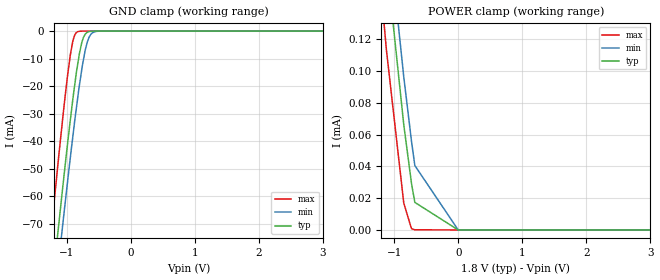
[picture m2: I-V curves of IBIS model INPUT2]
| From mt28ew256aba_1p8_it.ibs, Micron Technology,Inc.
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|   Model INPUT
[Model]   INPUT2
Model_type   Input
Vinl = 0.800V
Vinh = 1.260V
|   typ   min   max
C_comp   3.319pF   2.816pF   3.816pF
[Voltage Range]   1.800V   1.650V   1.950V
| Junction Temperature (Ambient temp is 35C typ, 85C min, -40C max)
[Temperature Range]   50.0   100.0   -40.0
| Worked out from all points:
|   GND clamp passes 1 mA (typ) near -0.71 V on its own axis
[GND Clamp]
|   Voltage   I(typ)   I(min)   I(max)
-1.8V     -225.7mA   -234.8mA   -209.1mA
-1.271V   -103.2mA   -115.7mA   -79.88mA
-1.228V   -93.37mA   -106.2mA   -69.55mA
-1.136V   -72.95mA   -86.25mA   -48.29mA
-1.066V   -57.69mA   -71.27mA   -32.66mA
-941.4mV  -32.06mA   -45.72mA   -8.524mA
-876.6mV  -20.01mA   -33.14mA   -1.587mA
-833.4mV  -12.89mA   -25.34mA   -297.8uA
-763.2mV  -4.135mA   -13.84mA   -14.49uA
-676.8mV  -433.6uA   -3.923mA   -551.9nA
-547.2mV  -6.907uA   -159.6uA   -9.707nA
3.6V      0A         0A         0A
[POWER Clamp]
|   Voltage   I(typ)   I(min)   I(max)
-1.8V     464.8uA    490.7uA    418uA
-1.12V    169.7uA    200.4uA    113uA
-849.6mV  66.22uA    96.34uA    16.89uA
-730.8mV  29.87uA    56.49uA    1.014uA
-720mV    27.15uA    53.14uA    671.3nA
-676.8mV  17.37uA    40.56uA    124.3nA
0V        13.3pA     39.33pA    19.3pA
2.029V    0A         0A         0A
3.6V      0A         0A         0A
